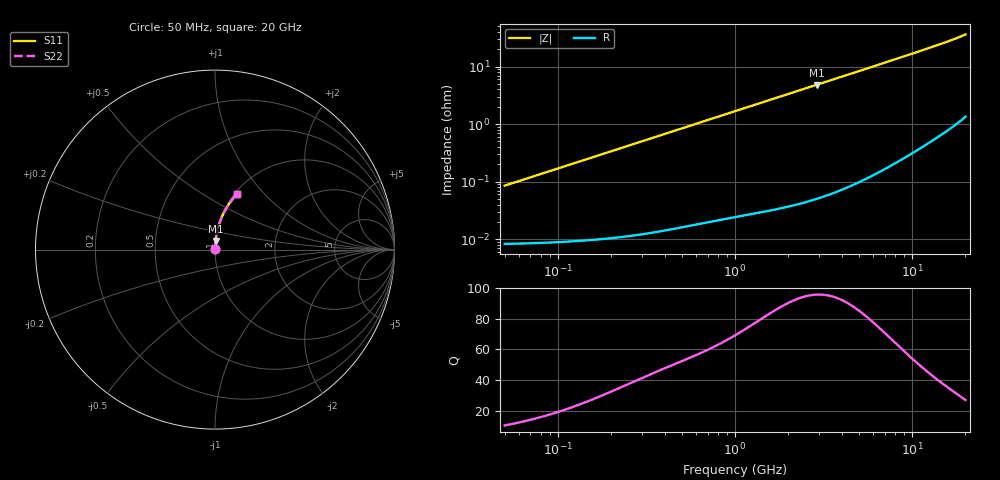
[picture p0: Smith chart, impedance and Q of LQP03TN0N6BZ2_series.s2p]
!Murata Part Number: LQP03TN0N6BZ2
!These Parameters are Measured in Series Mode Connection
!  o--[Z]--o
!Port1  Port2
!  o-------o
!Freq. Start=50[MHz] Stop=20[GHz], 401[Steps]
# Hz S RI R 50
!Freq.(Hz) S11(Real) S11(Imag) S21(Real) S21(Imag) S12(Real) S12(Imag) S22(Real) S22(Imag)
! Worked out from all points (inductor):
!   401 points, 50 MHz to 20 GHz, reference 50 ohm
!   read as one part in series: L = 269 pH near 51.52 MHz
!   highest Q = 95.9 at 2.896 GHz (marker M1), where L = 265 pH
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5e7  8.34e-05 0.000847  0.9999 -0.000847  0.9999 -0.000847  8.34e-05 0.000847
5.152053e7  8.36e-05 0.000872  0.9999 -0.000872  0.9999 -0.000872  8.36e-05 0.000872
1.364002e8  9.93e-05 0.0023  0.9999 -0.0023  0.9999 -0.0023  9.93e-05 0.0023
3.721004e8  0.000175 0.00625  0.9998 -0.00625  0.9998 -0.00625  0.000175 0.00625
6.380365e8  0.0003 0.0107  0.9997 -0.0107  0.9997 -0.0107  0.0003 0.0107
1e9  0.000519 0.0167  0.9995 -0.0167  0.9995 -0.0167  0.000519 0.0167
1.714689e9  0.00114 0.0285  0.9989 -0.0285  0.9989 -0.0285  0.00114 0.0285
2.728004e9  0.00252 0.0452  0.9975 -0.0452  0.9975 -0.0452  0.00252 0.0452
2.896447e9  0.00281 0.048  0.9972 -0.048  0.9972 -0.048  0.00281 0.048
3.792786e9  0.00462 0.0627  0.9954 -0.0627  0.9954 -0.0627  0.00462 0.0627
4.81993e9  0.00729 0.0795  0.9927 -0.0795  0.9927 -0.0795  0.00729 0.0795
6.034176e9  0.0112 0.0992  0.9888 -0.0992  0.9888 -0.0992  0.0112 0.0992
7.442007e9  0.0169 0.1218  0.9831 -0.1218  0.9831 -0.1218  0.0169 0.1218
8.644534e9  0.0227 0.1409  0.9773 -0.1409  0.9773 -0.1409  0.0227 0.1409
1.004137e10  0.0304 0.1627  0.9696 -0.1627  0.9696 -0.1627  0.0304 0.1627
1.166392e10  0.0408 0.1876  0.9592 -0.1876  0.9592 -0.1876  0.0408 0.1876
1.334722e10  0.0533 0.2129  0.9467 -0.2129  0.9467 -0.2129  0.0533 0.2129
1.482269e10  0.0656 0.2347  0.9344 -0.2347  0.9344 -0.2347  0.0656 0.2347
1.646126e10  0.0812 0.2587  0.9188 -0.2587  0.9188 -0.2587  0.0812 0.2587
1.800918e10  0.098 0.2815  0.902 -0.2815  0.902 -0.2815  0.098 0.2815
1.940974e10  0.116 0.3028  0.884 -0.3028  0.884 -0.3028  0.116 0.3028
2e10  0.1247 0.3123  0.8753 -0.3123  0.8753 -0.3123  0.1247 0.3123
